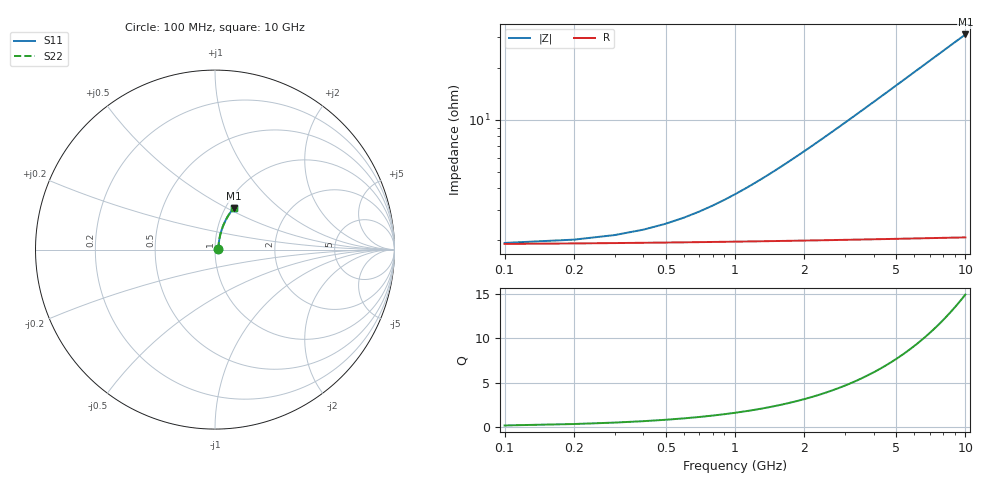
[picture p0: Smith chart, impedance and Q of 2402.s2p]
# Hz S RI R 50.00
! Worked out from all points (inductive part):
!   100 points, 100 MHz to 10 GHz, reference 50 ohm
!   read as one part in series: L = 498 pH near 2 GHz
!   highest Q = 14.9 at 10 GHz (marker M1), where L = 495 pH
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1e8  0.0187 0.00256  0.9813 -0.00347  0.9813 -0.00347  0.0187 0.00256
2e8  0.0189 0.00513  0.9811 -0.00693  0.9811 -0.00693  0.0189 0.00513
3e8  0.019 0.00769  0.981 -0.0104  0.981 -0.0104  0.019 0.00769
4e8  0.0191 0.0103  0.9809 -0.0139  0.9809 -0.0139  0.0191 0.0103
1e9  0.0202 0.0256  0.9798 -0.0346  0.9798 -0.0346  0.0202 0.0256
1.2e9  0.0206 0.0307  0.9793 -0.0415  0.9793 -0.0415  0.0206 0.0307
1.5e9  0.0215 0.0383  0.9784 -0.0519  0.9784 -0.0519  0.0215 0.0383
1.8e9  0.0224 0.0459  0.9774 -0.0622  0.9774 -0.0622  0.0224 0.0459
2.1e9  0.0236 0.0535  0.9762 -0.0725  0.9762 -0.0725  0.0236 0.0535
2.5e9  0.0253 0.0636  0.9744 -0.0861  0.9744 -0.0861  0.0253 0.0636
2.9e9  0.0273 0.0735  0.9723 -0.0997  0.9723 -0.0997  0.0273 0.0735
3.4e9  0.0302 0.0859  0.9693 -0.1166  0.9693 -0.1166  0.0302 0.0859
3.8e9  0.0328 0.0957  0.9666 -0.1301  0.9666 -0.1301  0.0328 0.0957
4.2e9  0.0357 0.1054  0.9636 -0.1434  0.9636 -0.1434  0.0357 0.1054
4.6e9  0.0388 0.1151  0.9603 -0.1566  0.9603 -0.1566  0.0388 0.1151
5.1e9  0.0431 0.1269  0.9558 -0.173  0.9558 -0.173  0.0431 0.1269
5.9e9  0.0508 0.1454  0.9477 -0.1988  0.9477 -0.1988  0.0508 0.1454
6.7e9  0.0594 0.1634  0.9387 -0.224  0.9387 -0.224  0.0594 0.1634
7.5e9  0.0689 0.1808  0.9287 -0.2487  0.9287 -0.2487  0.0689 0.1808
8.4e9  0.0807 0.1995  0.9163 -0.2756  0.9163 -0.2756  0.0807 0.1995
9.2e9  0.092 0.2154  0.9044 -0.2988  0.9044 -0.2988  0.092 0.2154
1e10  0.104 0.2306  0.8918 -0.3212  0.8918 -0.3212  0.104 0.2306
